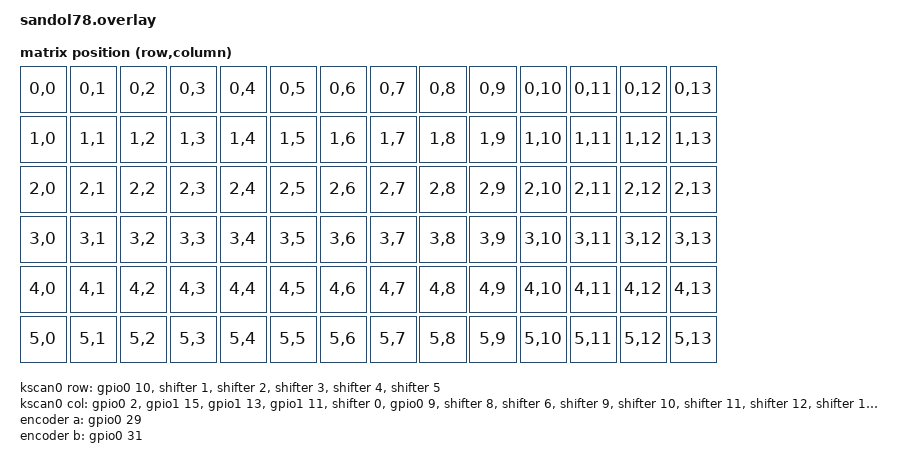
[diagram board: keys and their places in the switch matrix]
#include <physical_layouts.dtsi>
#include <dt-bindings/zmk/matrix_transform.h>
#include <dt-bindings/zmk/hid_indicators.h>
#include <dt-bindings/pinctrl/nrf-pinctrl.h>
#include <dt-bindings/pwm/pwm.h>
#include <dt-bindings/gpio/gpio.h>
/ {
    chosen {
        zmk,kscan = &kscan0;
        zmk,physical-layout = &physical_layout0;
    };

    physical_layout0: physical_layout_0 {
        compatible = "zmk,physical-layout";
        display-name = "Default Layout";
        transform = <&default_transform>;
        kscan = <&kscan0>;
        keys = 
            <&key_physical_attrs 100 100   0   0 0 0 0>, <&key_physical_attrs 100 100  100   0 0 0 0>, <&key_physical_attrs 100 100  200   0 0 0 0>, <&key_physical_attrs 100 100  300   0 0 0 0>, <&key_physical_attrs 100 100  400   0 0 0 0>, <&key_physical_attrs 100 100  500   0 0 0 0>, <&key_physical_attrs 100 100  600   0 0 0 0>, <&key_physical_attrs 100 100  700   0 0 0 0>, <&key_physical_attrs 100 100  800   0 0 0 0>, <&key_physical_attrs 100 100  900   0 0 0 0>, <&key_physical_attrs 100 100 1000   0 0 0 0>, <&key_physical_attrs 100 100 1100   0 0 0 0>, <&key_physical_attrs 100 100 1200   0 0 0 0>, <&key_physical_attrs 100 100 1300   0 0 0 0>,
            <&key_physical_attrs 100 100   0 100 0 0 0>, <&key_physical_attrs 100 100  100 100 0 0 0>, <&key_physical_attrs 100 100  200 100 0 0 0>, <&key_physical_attrs 100 100  300 100 0 0 0>, <&key_physical_attrs 100 100  400 100 0 0 0>, <&key_physical_attrs 100 100  500 100 0 0 0>, <&key_physical_attrs 100 100  600 100 0 0 0>, <&key_physical_attrs 100 100  700 100 0 0 0>, <&key_physical_attrs 100 100  800 100 0 0 0>, <&key_physical_attrs 100 100  900 100 0 0 0>, <&key_physical_attrs 100 100 1000 100 0 0 0>, <&key_physical_attrs 100 100 1100 100 0 0 0>, <&key_physical_attrs 100 100 1200 100 0 0 0>, <&key_physical_attrs 100 100 1300 100 0 0 0>,
            <&key_physical_attrs 100 100   0 200 0 0 0>, <&key_physical_attrs 100 100  100 200 0 0 0>, <&key_physical_attrs 100 100  200 200 0 0 0>, <&key_physical_attrs 100 100  300 200 0 0 0>, <&key_physical_attrs 100 100  400 200 0 0 0>, <&key_physical_attrs 100 100  500 200 0 0 0>, <&key_physical_attrs 100 100  600 200 0 0 0>, <&key_physical_attrs 100 100  700 200 0 0 0>, <&key_physical_attrs 100 100  800 200 0 0 0>, <&key_physical_attrs 100 100  900 200 0 0 0>, <&key_physical_attrs 100 100 1000 200 0 0 0>, <&key_physical_attrs 100 100 1100 200 0 0 0>, <&key_physical_attrs 100 100 1200 200 0 0 0>, <&key_physical_attrs 100 100 1300 200 0 0 0>,
            <&key_physical_attrs 100 100   0 300 0 0 0>, <&key_physical_attrs 100 100  100 300 0 0 0>, <&key_physical_attrs 100 100  200 300 0 0 0>, <&key_physical_attrs 100 100  300 300 0 0 0>, <&key_physical_attrs 100 100  400 300 0 0 0>, <&key_physical_attrs 100 100  500 300 0 0 0>, <&key_physical_attrs 100 100  600 300 0 0 0>, <&key_physical_attrs 100 100  700 300 0 0 0>, <&key_physical_attrs 100 100  800 300 0 0 0>, <&key_physical_attrs 100 100  900 300 0 0 0>, <&key_physical_attrs 100 100 1000 300 0 0 0>, <&key_physical_attrs 100 100 1100 300 0 0 0>, <&key_physical_attrs 100 100 1200 300 0 0 0>, <&key_physical_attrs 100 100 1300 300 0 0 0>,
            <&key_physical_attrs 100 100   0 400 0 0 0>, <&key_physical_attrs 100 100  100 400 0 0 0>, <&key_physical_attrs 100 100  200 400 0 0 0>, <&key_physical_attrs 100 100  300 400 0 0 0>, <&key_physical_attrs 100 100  400 400 0 0 0>, <&key_physical_attrs 100 100  500 400 0 0 0>, <&key_physical_attrs 100 100  600 400 0 0 0>, <&key_physical_attrs 100 100  700 400 0 0 0>, <&key_physical_attrs 100 100  800 400 0 0 0>, <&key_physical_attrs 100 100  900 400 0 0 0>, <&key_physical_attrs 100 100 1000 400 0 0 0>, <&key_physical_attrs 100 100 1100 400 0 0 0>, <&key_physical_attrs 100 100 1200 400 0 0 0>, <&key_physical_attrs 100 100 1300 400 0 0 0>,
            <&key_physical_attrs 100 100   0 500 0 0 0>, <&key_physical_attrs 100 100  100 500 0 0 0>, <&key_physical_attrs 100 100  200 500 0 0 0>, <&key_physical_attrs 100 100  300 500 0 0 0>, <&key_physical_attrs 100 100  400 500 0 0 0>, <&key_physical_attrs 100 100  500 500 0 0 0>, <&key_physical_attrs 100 100  600 500 0 0 0>, <&key_physical_attrs 100 100  700 500 0 0 0>, <&key_physical_attrs 100 100  800 500 0 0 0>, <&key_physical_attrs 100 100  900 500 0 0 0>, <&key_physical_attrs 100 100 1000 500 0 0 0>, <&key_physical_attrs 100 100 1100 500 0 0 0>, <&key_physical_attrs 100 100 1200 500 0 0 0>, <&key_physical_attrs 100 100 1300 500 0 0 0>;
    };

    default_transform: matrix_transform {
        compatible = "zmk,matrix-transform";
        columns = <14>;
        rows = <6>;
        map = <
            RC(0,0) RC(0,1) RC(0,2) RC(0,3) RC(0,4) RC(0,5) RC(0,6) RC(0,7) RC(0,8) RC(0,9) RC(0,10) RC(0,11) RC(0,12) RC(0,13)
            RC(1,0) RC(1,1) RC(1,2) RC(1,3) RC(1,4) RC(1,5) RC(1,6) RC(1,7) RC(1,8) RC(1,9) RC(1,10) RC(1,11) RC(1,12) RC(1,13)
            RC(2,0) RC(2,1) RC(2,2) RC(2,3) RC(2,4) RC(2,5) RC(2,6) RC(2,7) RC(2,8) RC(2,9) RC(2,10) RC(2,11) RC(2,12) RC(2,13)
            RC(3,0) RC(3,1) RC(3,2) RC(3,3) RC(3,4) RC(3,5) RC(3,6) RC(3,7) RC(3,8) RC(3,9) RC(3,10) RC(3,11) RC(3,12) RC(3,13)
            RC(4,0) RC(4,1) RC(4,2) RC(4,3) RC(4,4) RC(4,5) RC(4,6) RC(4,7) RC(4,8) RC(4,9) RC(4,10) RC(4,11) RC(4,12) RC(4,13)
            RC(5,0) RC(5,1) RC(5,2) RC(5,3) RC(5,4) RC(5,5) RC(5,6) RC(5,7) RC(5,8) RC(5,9) RC(5,10) RC(5,11) RC(5,12) RC(5,13)
        >;
    };

    kscan0: kscan {
        compatible = "zmk,kscan-matrix";
        diode-direction = "col2row";
        
        row-gpios
            = <&gpio0 10 (GPIO_ACTIVE_HIGH | GPIO_PULL_DOWN)>  /* Row 0 */
            , <&shifter 1 (GPIO_ACTIVE_HIGH | GPIO_PULL_DOWN)> /* Row 1: SR1 QB */
            , <&shifter 2 (GPIO_ACTIVE_HIGH | GPIO_PULL_DOWN)> /* Row 2: SR1 QC */
            , <&shifter 3 (GPIO_ACTIVE_HIGH | GPIO_PULL_DOWN)> /* Row 3: SR1 QD */
            , <&shifter 4 (GPIO_ACTIVE_HIGH | GPIO_PULL_DOWN)> /* Row 4: SR1 QE */
            , <&shifter 5 (GPIO_ACTIVE_HIGH | GPIO_PULL_DOWN)> /* Row 5: SR1 QF */
            ;

        col-gpios
            = <&gpio0 2 GPIO_ACTIVE_HIGH>   /* Col 0 */
            , <&gpio1 15 GPIO_ACTIVE_HIGH>  /* Col 1 */
            , <&gpio1 13 GPIO_ACTIVE_HIGH>  /* Col 2 */
            , <&gpio1 11 GPIO_ACTIVE_HIGH>  /* Col 3 */
            , <&shifter 0 GPIO_ACTIVE_HIGH>  /* Col 4: SR1 QA */
            , <&gpio0 9 GPIO_ACTIVE_HIGH>   /* Col 5 */
            , <&shifter 8 GPIO_ACTIVE_HIGH>  /* Col 6: SR2 QA */
            , <&shifter 6 GPIO_ACTIVE_HIGH>  /* Col 7: SR1 QG */
            , <&shifter 9 GPIO_ACTIVE_HIGH>  /* Col 8: SR2 QB */
            , <&shifter 10 GPIO_ACTIVE_HIGH> /* Col 9: SR2 QC */
            , <&shifter 11 GPIO_ACTIVE_HIGH> /* Col 10: SR2 QD */
            , <&shifter 12 GPIO_ACTIVE_HIGH> /* Col 11: SR2 QE */
            , <&shifter 13 GPIO_ACTIVE_HIGH> /* Col 12: SR2 QF */
            , <&shifter 14 GPIO_ACTIVE_HIGH> /* Col 13: SR2 QG */
            ;
    };

    encoder: encoder {
        compatible = "alps,ec11";
        a-gpios = <&gpio0 29 (GPIO_ACTIVE_LOW | GPIO_PULL_UP)>;
        b-gpios = <&gpio0 31 (GPIO_ACTIVE_LOW | GPIO_PULL_UP)>;
        steps = <80>;
        status = "okay";
    };

    pwm_leds {
        compatible = "pwm-leds";
        caps_lock_led: led_pwm {
            pwms = <&pwm0 0 PWM_MSEC(10) PWM_POLARITY_NORMAL>;
        };
    };

    indicator_leds {
        compatible = "zmk,indicator-leds";
        caps_lock_indicator: caps_lock_indicator {
            indicator-led = <&caps_lock_led>;
            indicator-active-bits = <HID_USAGE_LED_CAPS_LOCK>;
        };
    };

    sensors: sensors {
        compatible = "zmk,keymap-sensors";
        sensors = <&encoder>;
        triggers-per-rotation = <20>;
    };
};

&uicr {
    nfct-pins-as-gpios;
};

&spi0 {
    status = "okay";
    pinctrl-0 = <&spi0_default>;
    pinctrl-1 = <&spi0_sleep>;
    pinctrl-names = "default", "sleep";
    cs-gpios = <&gpio0 24 GPIO_ACTIVE_LOW>;

    shifter: gpio_595@0 {
        compatible = "zmk,gpio-595";
        reg = <0>;
        spi-max-frequency = <2000000>;
        gpio-controller;
        #gpio-cells = <2>;
        ngpios = <16>;
    };
};

&pinctrl {
    spi0_default: spi0_default {
        group1 {
            psels = <NRF_PSEL(SPIM_SCK, 0, 17)>,
                    <NRF_PSEL(SPIM_MOSI, 0, 22)>;
        };
    };

    spi0_sleep: spi0_sleep {
        group1 {
            psels = <NRF_PSEL(SPIM_SCK, 0, 17)>,
                    <NRF_PSEL(SPIM_MOSI, 0, 22)>;
            low-power-enable;
        };
    };

    pwm0_default: pwm0_default {
        group1 {
            psels = <NRF_PSEL(PWM_OUT0, 0, 11)>;
            nordic,invert;
        };
    };

    pwm0_sleep: pwm0_sleep {
        group1 {
            psels = <NRF_PSEL(PWM_OUT0, 0, 11)>;
            low-power-enable;
        };
    };
};

&pwm0 {
    status = "okay";
    pinctrl-0 = <&pwm0_default>;
    pinctrl-1 = <&pwm0_sleep>;
    pinctrl-names = "default", "sleep";
};
